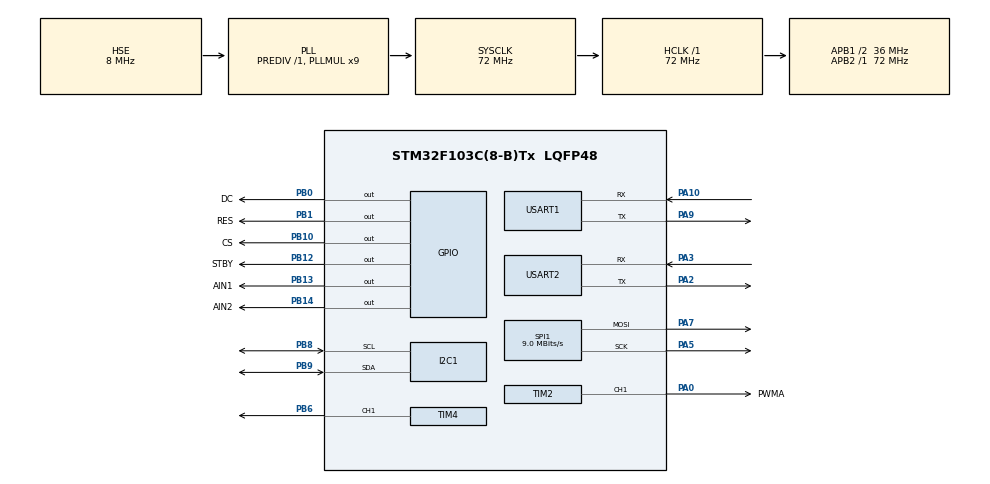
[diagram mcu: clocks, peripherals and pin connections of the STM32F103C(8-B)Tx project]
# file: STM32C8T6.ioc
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Mcu.Family=STM32F1
Mcu.Name=STM32F103C(8-B)Tx
Mcu.Package=LQFP48
NVIC.PriorityGroup=NVIC_PRIORITYGROUP_4
NVIC.USART1_IRQn=true\:0\:0\:false\:false\:true\:true\:true\:true
NVIC.USART2_IRQn=true\:0\:0\:false\:false\:true\:true\:true\:true
PA0-WKUP.GPIO_Label=PWMA
PA0-WKUP.Signal=S_TIM2_CH1_ETR
PA10.Mode=Asynchronous
PA10.Signal=USART1_RX
PA13.Mode=Serial_Wire
PA13.Signal=SYS_JTMS-SWDIO
PA14.Mode=Serial_Wire
PA14.Signal=SYS_JTCK-SWCLK
PA2.Mode=Asynchronous
PA2.Signal=USART2_TX
PA3.Mode=Asynchronous
PA3.Signal=USART2_RX
PA5.Mode=TX_Only_Simplex_Unidirect_Master
PA5.Signal=SPI1_SCK
PA7.Mode=TX_Only_Simplex_Unidirect_Master
PA7.Signal=SPI1_MOSI
PA9.Mode=Asynchronous
PA9.Signal=USART1_TX
PB0.GPIO_Label=DC
PB0.Signal=GPIO_Output
PB1.GPIO_Label=RES
PB1.PinState=GPIO_PIN_SET
PB1.Signal=GPIO_Output
PB10.GPIO_Label=CS
PB10.PinState=GPIO_PIN_SET
PB10.Signal=GPIO_Output
PB12.GPIO_Label=STBY
PB12.Signal=GPIO_Output
PB13.GPIO_Label=AIN1
PB13.Signal=GPIO_Output
PB14.GPIO_Label=AIN2
PB14.Signal=GPIO_Output
PB6.Signal=S_TIM4_CH1
PB8.Mode=I2C
PB8.Signal=I2C1_SCL
PB9.Mode=I2C
PB9.Signal=I2C1_SDA
PD0-OSC_IN.Mode=HSE-External-Oscillator
PD0-OSC_IN.Signal=RCC_OSC_IN
PD1-OSC_OUT.Mode=HSE-External-Oscillator
PD1-OSC_OUT.Signal=RCC_OSC_OUT
ProjectManager.HeapSize=0x200
ProjectManager.StackSize=0x400
ProjectManager.TargetToolchain=MDK-ARM V5.32
RCC.AHBFreq_Value=72000000
RCC.APB1CLKDivider=RCC_HCLK_DIV2
RCC.APB1Freq_Value=36000000
RCC.APB1TimFreq_Value=72000000
RCC.APB2Freq_Value=72000000
RCC.APB2TimFreq_Value=72000000
RCC.HCLKFreq_Value=72000000
RCC.PLLMUL=RCC_PLL_MUL9
RCC.PLLSourceVirtual=RCC_PLLSOURCE_HSE
RCC.SYSCLKFreq_VALUE=72000000
RCC.SYSCLKSource=RCC_SYSCLKSOURCE_PLLCLK
RCC.USBFreq_Value=48000000
RCC.USBPrescaler=RCC_USBCLKSOURCE_PLL_DIV1_5
SH.S_TIM2_CH1_ETR.0=TIM2_CH1,PWM Generation1 CH1
SH.S_TIM4_CH1.0=TIM4_CH1,PWM Generation1 CH1
SPI1.BaudRatePrescaler=SPI_BAUDRATEPRESCALER_8
SPI1.CalculateBaudRate=9.0 MBits/s
SPI1.Direction=SPI_DIRECTION_2LINES
SPI1.Mode=SPI_MODE_MASTER
SPI1.VirtualType=VM_MASTER
TIM2.AutoReloadPreload=TIM_AUTORELOAD_PRELOAD_ENABLE
TIM2.Channel-PWM\ Generation1\ CH1=TIM_CHANNEL_1
TIM2.Period=999
TIM2.Prescaler=71
TIM2.Pulse-PWM\ Generation1\ CH1=0
TIM4.AutoReloadPreload=TIM_AUTORELOAD_PRELOAD_ENABLE
TIM4.Channel-PWM\ Generation1\ CH1=TIM_CHANNEL_1
TIM4.Period=19999
TIM4.Prescaler=71
TIM4.Pulse-PWM\ Generation1\ CH1=1000
USART1.VirtualMode=VM_ASYNC
USART2.VirtualMode=VM_ASYNC
VP_TIM2_VS_ClockSourceINT.Mode=Internal
VP_TIM4_VS_ClockSourceINT.Mode=Internal
board=custom

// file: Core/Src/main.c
/* USER CODE BEGIN Header */
/**
  ******************************************************************************
  * @file           : main.c
  * @brief          : Main program body
  ******************************************************************************
  * @attention
  *
  * Copyright (c) 2026 STMicroelectronics.
  * All rights reserved.
  *
  * This software is licensed under terms that can be found in the LICENSE file
  * in the root directory of this software component.
  * If no LICENSE file comes with this software, it is provided AS-IS.
  *
  ******************************************************************************
  */
/* USER CODE END Header */
#include "main.h"
#include "i2c.h"
#include "spi.h"
#include "tim.h"
#include "usart.h"
#include "gpio.h"

/* USER CODE BEGIN Includes */
/* OLED 应用层接口：底层驱动在 App/oled.c，主程序只负责初始化和状态刷新。 */
#include "oled.h"
#include "rfid_reader.h"
#include "at24c02.h"

/* USER CODE END Includes */

/* USER CODE BEGIN PD */
#define SERVO_CLOSED_PULSE  500U
#define SERVO_OPEN_PULSE    2500U
#define MOTOR_PWM_OLED_GUARD_MS   100U
#define APP_UNLOCK_MESSAGE_MS  900U
#define APP_UNLOCK_CODE_LENGTH  4U
#define APP_MESSAGE_NONE        0U
#define APP_MESSAGE_UNLOCK_OK   1U
#define APP_MESSAGE_LOCK_FAIL   2U
#define APP_MESSAGE_ENROLL_OK   3U
#define APP_MESSAGE_MODIFY_OK   4U
#define APP_LOCK_ERROR_MS       1000U
#define APP_AUTH_MAX_RETRY      3U
#define APP_AUTH_LOCK_MS        30000U
#define APP_GESTURE_ENROLL_COUNTDOWN_MAX  3U
#define APP_GESTURE_ENROLL_STEP_MS        1000U
#define APP_STORAGE_ADDR                  0U
#define APP_STORAGE_MAGIC0                0x48U
#define APP_STORAGE_MAGIC1                0x47U
#define APP_STORAGE_VERSION               1U
#define APP_STORAGE_FLAG_RFID             0x01U
#define APP_STORAGE_FLAG_GESTURE          0x02U

/* USER CODE END PD */

/* USER CODE BEGIN PV */
static uint8_t uart1_rx_byte;
static uint8_t uart2_rx_byte;

typedef enum
{
  APP_PAGE_HOME = 0,
  APP_PAGE_MOTOR = 1,
  APP_PAGE_SERVO = 2,
  APP_PAGE_LOCK = 3,
  APP_PAGE_RFID_ENROLL = 4,
  APP_PAGE_GESTURE_ENROLL = 5
} AppPage;

typedef struct
{
  uint8_t magic0;
  uint8_t magic1;
  uint8_t version;
  uint8_t flags;
  uint8_t rfid_card[RFID_CARD_ID_LENGTH];
  uint8_t gesture_code[APP_UNLOCK_CODE_LENGTH];
  uint8_t checksum;
} AppStorageData;

/*
 * OLED 刷新状态缓存。
 * motor_display_state 保存当前应该显示的电机状态；motor_display_pending 表示主循环需要刷新屏幕。
 * 这两个变量会在串口接收中断和主循环之间共享，所以使用 volatile 防止编译器优化掉读取。
 */
static volatile uint8_t motor_display_state = (uint8_t)OLED_MOTOR_STOP;
static volatile uint8_t motor_display_pending = 0U;
static volatile uint16_t motor_pwm_target = 0U;
static volatile uint16_t motor_pwm_active = 0U;
static volatile uint8_t motor_pwm_pending = 0U;
static volatile uint32_t motor_pwm_due_tick = 0U;
static volatile uint8_t motor_oled_guard_active = 0U;
static volatile uint8_t motor_oled_guard_waiting_refresh = 0U;
static volatile uint32_t motor_oled_guard_due_tick = 0U;
static volatile uint8_t motor_stop_after_refresh = 0U;
static volatile uint8_t app_page = (uint8_t)APP_PAGE_HOME;
static volatile uint8_t home_selection = (uint8_t)OLED_HOME_MOTOR;
static volatile uint8_t home_selection_old = (uint8_t)OLED_HOME_MOTOR;
static volatile uint8_t home_transition_pending = 0U;
static volatile uint8_t page_redraw_pending = 0U;
static volatile uint8_t servo_door_state = (uint8_t)OLED_DOOR_CLOSED;
static volatile uint8_t servo_display_pending = 0U;
static volatile uint32_t servo_display_due_tick = 0U;
static volatile uint8_t access_unlocked = 0U;
static volatile uint8_t access_unlock_pending = 0U;
static volatile uint8_t unlock_code_index = 0U;
static uint8_t unlock_input_code[APP_UNLOCK_CODE_LENGTH];
static volatile uint8_t lock_error_pending = 0U;
static volatile uint32_t lock_error_due_tick = 0U;
static volatile uint8_t password_retry_count = 0U;
static volatile uint8_t password_lock_active = 0U;
static volatile uint32_t password_lock_due_tick = 0U;
static volatile uint8_t rfid_auth_retry_count = 0U;
static volatile uint8_t rfid_lock_active = 0U;
static volatile uint32_t rfid_lock_due_tick = 0U;
static volatile uint8_t auth_lock_page_active = 0U;
static volatile uint8_t auth_lock_display_seconds = 0U;
static volatile uint8_t auth_lock_display_pending = 0U;
static volatile uint8_t access_message_pending = 0U;
static volatile uint8_t access_message_mode = APP_MESSAGE_NONE;
static volatile uint32_t access_message_due_tick = 0U;
static char uart_cmd_buffer[8];
static uint8_t uart_cmd_len = 0U;
static uint8_t unlock_code[APP_UNLOCK_CODE_LENGTH] = {'1', '2', '3', '4'};
static uint8_t gesture_enroll_code[APP_UNLOCK_CODE_LENGTH];
static volatile uint8_t credential_save_pending = 0U;
static volatile uint8_t gesture_enroll_index = 0U;
static volatile uint8_t gesture_enroll_recording = 0U;
static volatile uint8_t gesture_enroll_countdown = APP_GESTURE_ENROLL_COUNTDOWN_MAX;
static volatile uint32_t gesture_enroll_due_tick = 0U;

/* USER CODE END PV */

void SystemClock_Config(void);
/* USER CODE BEGIN PFP */
void Motor_SetSpeed(uint16_t speed);
static void Motor_HandleCommand(uint8_t command);
static void Servo_SetDoor(uint8_t open);
static uint8_t App_StringEquals(const char *a, const char *b);
static uint8_t UART1_CommandIsPrefix(const char *command, uint8_t length);
static void App_HandleTextCommand(const char *command);
static void UART1_ProcessRxByte(uint8_t byte);
static void UART1_StartReceive(void);
static void UART2_StartReceive(void);
static void App_EnterHomeAfterUnlock(void);
static void App_ReturnHome(void);
static void App_LockAndShow(void);
static void App_OpenHomeItem(uint8_t item);
static void App_SelectHomeItem(uint8_t item);
static void App_HandleUnlockByte(uint8_t byte);
static void App_HandleLockErrorTimer(void);
static void App_HandleAuthLockoutTimer(void);
static void App_StartAuthLockout(uint8_t rfid_source);
static void App_StartGestureEnroll(void);
static void App_StartGestureEnrollStep(void);
static void App_HandleGestureEnrollByte(uint8_t byte);
static void App_HandleGestureInvalid(void);
static void App_HandleGestureEnrollTimer(void);
static void App_HandleRfidEvents(void);
static uint8_t App_StorageChecksum(const AppStorageData *storage);
static void App_LoadCredentials(void);
static void App_RequestCredentialSave(void);
static void App_HandleCredentialSave(void);
/* USER CODE END PFP */

/* USER CODE BEGIN 0 */

/**
 * @brief  设置电机 PWM 占空比，并同步记录 OLED 需要显示的档位。
 * @param  speed PWM 比较值，当前约定为 0、300、600、999 四档。
 * @note   这个函数会被串口接收中断调用，所以这里只记录目标档位并启动保护流程，
 *         不直接进行 SPI 刷屏。主循环会先关闭 PWM，等 100ms，再刷 OLED，
 *         最后再等 100ms 恢复目标 PWM。
 */
void Motor_SetSpeed(uint16_t speed)
{
  uint8_t state;

  /* PWM 最大值按当前 TIM2 周期限制为 999，防止外部调用传入过大值。 */
  if (speed > 999U)
  {
    speed = 999U;
  }

  /* 将 PWM 数值映射成 OLED 页面上的状态：0=停止，300=一档，600=二档，999=三档。 */
  if (speed == 0U)
  {
    state = (uint8_t)OLED_MOTOR_STOP;
  }
  else if (speed <= 300U)
  {
    state = (uint8_t)OLED_MOTOR_GEAR1;
  }
  else if (speed <= 600U)
  {
    state = (uint8_t)OLED_MOTOR_GEAR2;
  }
  else
  {
    state = (uint8_t)OLED_MOTOR_GEAR3;
  }

  /*
   * 先记录目标 PWM 和目标显示状态。
   * while(1) 会先把 TIM2_CH1 占空比临时清零，等 OLED 供电/总线稳定后再刷屏，
   * 刷屏结束后再延迟恢复目标 PWM。
   */
  motor_pwm_target = speed;
  motor_pwm_pending = 0U;
  motor_pwm_due_tick = 0U;
  motor_stop_after_refresh = (speed == 0U) ? 1U : 0U;
  motor_oled_guard_active = 1U;
  motor_oled_guard_waiting_refresh = 1U;
  motor_oled_guard_due_tick = HAL_GetTick() + MOTOR_PWM_OLED_GUARD_MS;
  __HAL_TIM_SET_COMPARE(&htim2, TIM_CHANNEL_1, 0U);
  motor_pwm_active = 0U;

  if (motor_display_state != state)
  {
    motor_display_state = state;
  }
  motor_display_pending = 1U;
}

static void Motor_HandleCommand(uint8_t command)
{
  /* 上位机发送 ASCII 字符 '0'~'3'，分别对应停止、一档、二档、三档 PWM。 */
  switch (command)
  {
    case '0':
      Motor_SetSpeed(0);
      break;
    case '1':
      Motor_SetSpeed(300);
      break;
    case '2':
      Motor_SetSpeed(600);
      break;
    case '3':
      Motor_SetSpeed(999);
      break;
    default:
      break;
  }
}

static void Servo_SetDoor(uint8_t open)
{
  __HAL_TIM_SET_COMPARE(&htim4, TIM_CHANNEL_1, (open != 0U) ? SERVO_OPEN_PULSE : SERVO_CLOSED_PULSE);
  servo_door_state = (open != 0U) ? (uint8_t)OLED_DOOR_OPEN : (uint8_t)OLED_DOOR_CLOSED;
  servo_display_due_tick = HAL_GetTick();
  servo_display_pending = 1U;
}

static uint8_t App_StorageChecksum(const AppStorageData *storage)
{
  const uint8_t *bytes;
  uint8_t sum;
  uint8_t i;

  bytes = (const uint8_t *)storage;
  sum = 0U;
  for (i = 0U; i < (uint8_t)(sizeof(AppStorageData) - 1U); i++)
  {
    sum = (uint8_t)(sum + bytes[i]);
  }

  return (uint8_t)(0xA5U ^ sum);
}

static void App_LoadCredentials(void)
{
  AppStorageData storage;
  uint8_t i;

  if (AT24C02_Read(APP_STORAGE_ADDR, (uint8_t *)&storage, (uint16_t)sizeof(storage)) != HAL_OK)
  {
    return;
  }

  if ((storage.magic0 != APP_STORAGE_MAGIC0) ||
      (storage.magic1 != APP_STORAGE_MAGIC1) ||
      (storage.version != APP_STORAGE_VERSION) ||
      (storage.checksum != App_StorageChecksum(&storage)))
  {
    return;
  }

  if ((storage.flags & APP_STORAGE_FLAG_RFID) != 0U)
  {
    RFID_SetStoredCard(storage.rfid_card);
  }

  if ((storage.flags & APP_STORAGE_FLAG_GESTURE) != 0U)
  {
    for (i = 0U; i < APP_UNLOCK_CODE_LENGTH; i++)
    {
      unlock_code[i] = storage.gesture_code[i];
    }
  }
}

static void App_RequestCredentialSave(void)
{
  credential_save_pending = 1U;
}

static void App_HandleCredentialSave(void)
{
  AppStorageData storage;
  uint8_t i;

  if (credential_save_pending == 0U)
  {
    return;
  }

  credential_save_pending = 0U;
  storage.magic0 = APP_STORAGE_MAGIC0;
  storage.magic1 = APP_STORAGE_MAGIC1;
  storage.version = APP_STORAGE_VERSION;
  storage.flags = APP_STORAGE_FLAG_GESTURE;

  if (RFID_GetStoredCard(storage.rfid_card) != 0U)
  {
    storage.flags = (uint8_t)(storage.flags | APP_STORAGE_FLAG_RFID);
  }

  for (i = 0U; i < APP_UNLOCK_CODE_LENGTH; i++)
  {
    storage.gesture_code[i] = unlock_code[i];
  }

  storage.checksum = App_StorageChecksum(&storage);
  if (AT24C02_Write(APP_STORAGE_ADDR, (const uint8_t *)&storage, (uint16_t)sizeof(storage)) != HAL_OK)
  {
    credential_save_pending = 1U;
  }
}

static uint8_t App_StringEquals(const char *a, const char *b)
{
  while ((*a != '\0') && (*b != '\0'))
  {
    if (*a != *b)
    {
      return 0U;
    }
    a++;
    b++;
  }

  return ((*a == '\0') && (*b == '\0')) ? 1U : 0U;
}

static uint8_t UART1_CommandIsPrefix(const char *command, uint8_t length)
{
  static const char *known_commands[] = {"ok", "exit", "open", "close", "like", "dislike", "palm", "fist", "invalid"};
  uint8_t i;
  uint8_t j;
  uint8_t matched;

  for (i = 0U; i < (uint8_t)(sizeof(known_commands) / sizeof(known_commands[0])); i++)
  {
    matched = 1U;
    for (j = 0U; j < length; j++)
    {
      if ((known_commands[i][j] == '\0') || (known_commands[i][j] != command[j]))
      {
        matched = 0U;
        break;
      }
    }

    if (matched != 0U)
    {
      return 1U;
    }
  }

  return 0U;
}

static void App_HandleTextCommand(const char *command)
{
  if ((app_page == (uint8_t)APP_PAGE_HOME) &&
      ((App_StringEquals(command, "exit") != 0U) || (App_StringEquals(command, "dislike") != 0U)))
  {
    App_LockAndShow();
    return;
  }

  if ((app_page != (uint8_t)APP_PAGE_HOME) &&
      ((App_StringEquals(command, "exit") != 0U) || (App_StringEquals(command, "dislike") != 0U)))
  {
    App_ReturnHome();
    return;
  }

  if (app_page == (uint8_t)APP_PAGE_HOME)
  {
    if ((App_StringEquals(command, "ok") != 0U) || (App_StringEquals(command, "like") != 0U))
    {
      App_OpenHomeItem(home_selection);
    }
    return;
  }

  if (app_page == (uint8_t)APP_PAGE_GESTURE_ENROLL)
  {
    if ((App_StringEquals(command, "ok") != 0U) || (App_StringEquals(command, "like") != 0U))
    {
      App_StartGestureEnrollStep();
    }
    else if (App_StringEquals(command, "invalid") != 0U)
    {
      App_HandleGestureInvalid();
    }
    return;
  }

  if (app_page == (uint8_t)APP_PAGE_SERVO)
  {
    if ((App_StringEquals(command, "open") != 0U) || (App_StringEquals(command, "palm") != 0U))
    {
      Servo_SetDoor(1U);
    }
    else if ((App_StringEquals(command, "close") != 0U) || (App_StringEquals(command, "fist") != 0U))
    {
      Servo_SetDoor(0U);
    }
  }
}

static void UART1_ProcessRxByte(uint8_t byte)
{
  char ch;

  if (access_unlocked == 0U)
  {
    App_HandleUnlockByte(byte);
    return;
  }

  if ((byte >= (uint8_t)'A') && (byte <= (uint8_t)'Z'))
  {
    byte = (uint8_t)(byte + ((uint8_t)'a' - (uint8_t)'A'));
  }

  if ((byte >= (uint8_t)'0') && (byte <= (uint8_t)'5'))
  {
    uart_cmd_len = 0U;
    uart_cmd_buffer[0] = '\0';

    if ((app_page == (uint8_t)APP_PAGE_HOME) && (byte >= (uint8_t)'1') && (byte <= (uint8_t)'4'))
    {
      App_SelectHomeItem((uint8_t)(byte - (uint8_t)'1'));
    }
    else if (app_page == (uint8_t)APP_PAGE_GESTURE_ENROLL)
    {
      App_HandleGestureEnrollByte(byte);
    }
    else if ((app_page == (uint8_t)APP_PAGE_MOTOR) && (byte <= (uint8_t)'3'))
    {
      Motor_HandleCommand(byte);
    }
    else if ((app_page == (uint8_t)APP_PAGE_SERVO) && (byte == (uint8_t)'5'))
    {
      Servo_SetDoor(1U);
    }
    else if ((app_page == (uint8_t)APP_PAGE_SERVO) && (byte == (uint8_t)'0'))
    {
      Servo_SetDoor(0U);
    }
    return;
  }

  if ((byte == (uint8_t)'\r') || (byte == (uint8_t)'\n') || (byte == (uint8_t)' '))
  {
    uart_cmd_len = 0U;
    uart_cmd_buffer[0] = '\0';
    return;
  }

  ch = (char)byte;
  if ((ch < 'a') || (ch > 'z'))
  {
    uart_cmd_len = 0U;
    uart_cmd_buffer[0] = '\0';
    return;
  }

  if (uart_cmd_len >= (uint8_t)(sizeof(uart_cmd_buffer) - 1U))
  {
    uart_cmd_len = 0U;
  }

  uart_cmd_buffer[uart_cmd_len] = ch;
  uart_cmd_len++;
  uart_cmd_buffer[uart_cmd_len] = '\0';

  if ((App_StringEquals(uart_cmd_buffer, "ok") != 0U) ||
      (App_StringEquals(uart_cmd_buffer, "exit") != 0U) ||
      (App_StringEquals(uart_cmd_buffer, "open") != 0U) ||
      (App_StringEquals(uart_cmd_buffer, "close") != 0U) ||
      (App_StringEquals(uart_cmd_buffer, "like") != 0U) ||
      (App_StringEquals(uart_cmd_buffer, "dislike") != 0U) ||
      (App_StringEquals(uart_cmd_buffer, "palm") != 0U) ||
      (App_StringEquals(uart_cmd_buffer, "fist") != 0U) ||
      (App_StringEquals(uart_cmd_buffer, "invalid") != 0U))
  {
    App_HandleTextCommand(uart_cmd_buffer);
    uart_cmd_len = 0U;
    uart_cmd_buffer[0] = '\0';
  }
  else if (UART1_CommandIsPrefix(uart_cmd_buffer, uart_cmd_len) == 0U)
  {
    uart_cmd_len = 0U;
    uart_cmd_buffer[0] = '\0';
  }
}

static void UART1_StartReceive(void)
{
  /* 每次只接收 1 字节命令；接收完成后在回调函数里重新开启下一次接收。 */
  HAL_UART_Receive_IT(&huart1, &uart1_rx_byte, 1);
}

static void UART2_StartReceive(void)
{
  HAL_UART_Receive_IT(&huart2, &uart2_rx_byte, 1);
}

static void App_EnterHomeAfterUnlock(void)
{
  access_unlocked = 1U;
  password_retry_count = 0U;
  password_lock_active = 0U;
  password_lock_due_tick = 0U;
  rfid_auth_retry_count = 0U;
  rfid_lock_active = 0U;
  rfid_lock_due_tick = 0U;
  auth_lock_page_active = 0U;
  auth_lock_display_seconds = 0U;
  auth_lock_display_pending = 0U;
  app_page = (uint8_t)APP_PAGE_HOME;
  home_selection = (uint8_t)OLED_HOME_MOTOR;
  home_selection_old = (uint8_t)OLED_HOME_MOTOR;
  home_transition_pending = 0U;
  page_redraw_pending = 1U;
}

static void App_ReturnHome(void)
{
  Motor_SetSpeed(0U);
  Servo_SetDoor(0U);
  gesture_enroll_index = 0U;
  gesture_enroll_recording = 0U;
  gesture_enroll_countdown = APP_GESTURE_ENROLL_COUNTDOWN_MAX;
  gesture_enroll_due_tick = 0U;
  app_page = (uint8_t)APP_PAGE_HOME;
  home_selection_old = home_selection;
  home_transition_pending = 0U;
  page_redraw_pending = 1U;
}

static void App_LockAndShow(void)
{
  Motor_SetSpeed(0U);
  Servo_SetDoor(0U);
  RFID_Lock();
  access_unlocked = 0U;
  access_unlock_pending = 0U;
  unlock_code_index = 0U;
  lock_error_pending = 0U;
  lock_error_due_tick = 0U;
  password_retry_count = 0U;
  password_lock_active = 0U;
  password_lock_due_tick = 0U;
  rfid_auth_retry_count = 0U;
  rfid_lock_active = 0U;
  rfid_lock_due_tick = 0U;
  auth_lock_page_active = 0U;
  auth_lock_display_seconds = 0U;
  auth_lock_display_pending = 0U;
  gesture_enroll_index = 0U;
  gesture_enroll_recording = 0U;
  gesture_enroll_countdown = APP_GESTURE_ENROLL_COUNTDOWN_MAX;
  gesture_enroll_due_tick = 0U;
  access_message_pending = 0U;
  access_message_mode = APP_MESSAGE_NONE;
  app_page = (uint8_t)APP_PAGE_LOCK;
  home_selection = (uint8_t)OLED_HOME_MOTOR;
  home_selection_old = (uint8_t)OLED_HOME_MOTOR;
  home_transition_pending = 0U;
  page_redraw_pending = 1U;
}

static void App_HandleUnlockByte(uint8_t byte)
{
  uint8_t i;
  uint8_t matched;

  if ((lock_error_pending != 0U) || (password_lock_active != 0U))
  {
    return;
  }

  if ((byte < (uint8_t)'0') || (byte > (uint8_t)'9'))
  {
    return;
  }

  if (unlock_code_index < APP_UNLOCK_CODE_LENGTH)
  {
    unlock_input_code[unlock_code_index] = byte;
    unlock_code_index++;
    OLED_ShowLockInputPage(unlock_input_code, unlock_code_index, 0U);
  }

  if (unlock_code_index >= APP_UNLOCK_CODE_LENGTH)
  {
    matched = 1U;
    for (i = 0U; i < APP_UNLOCK_CODE_LENGTH; i++)
    {
      if (unlock_input_code[i] != unlock_code[i])
      {
        matched = 0U;
        break;
      }
    }

    unlock_code_index = 0U;
    if (matched != 0U)
    {
      password_retry_count = 0U;
      password_lock_active = 0U;
      password_lock_due_tick = 0U;
      access_unlocked = 1U;
      access_unlock_pending = 1U;
    }
    else
    {
      if (password_retry_count < APP_AUTH_MAX_RETRY)
      {
        password_retry_count++;
      }

      if (password_retry_count >= APP_AUTH_MAX_RETRY)
      {
        App_StartAuthLockout(0U);
      }
      else
      {
        lock_error_pending = 1U;
        lock_error_due_tick = HAL_GetTick() + APP_LOCK_ERROR_MS;
        OLED_ShowLockInputPage(unlock_input_code, APP_UNLOCK_CODE_LENGTH, 1U);
      }
    }
  }
}

static void App_HandleLockErrorTimer(void)
{
  if ((lock_error_pending != 0U) && ((int32_t)(HAL_GetTick() - lock_error_due_tick) >= 0))
  {
    lock_error_pending = 0U;
    unlock_code_index = 0U;
    if ((password_lock_active == 0U) && (rfid_lock_active == 0U))
    {
      OLED_ShowLockInputPage(unlock_input_code, 0U, 0U);
    }
  }
}

static void App_HandleAuthLockoutTimer(void)
{
  uint32_t now;
  uint32_t due_tick;
  uint32_t remain_ms;
  uint8_t remaining_seconds;

  now = HAL_GetTick();
  if ((password_lock_active != 0U) && ((int32_t)(now - password_lock_due_tick) >= 0))
  {
    password_lock_active = 0U;
    password_retry_count = 0U;
    password_lock_due_tick = 0U;
    unlock_code_index = 0U;
    auth_lock_page_active = 0U;
    auth_lock_display_seconds = 0U;
    auth_lock_display_pending = 1U;
  }

  if ((rfid_lock_active != 0U) && ((int32_t)(now - rfid_lock_due_tick) >= 0))
  {
    rfid_lock_active = 0U;
    rfid_auth_retry_count = 0U;
    rfid_lock_due_tick = 0U;
    RFID_Lock();
    auth_lock_page_active = 0U;
    auth_lock_display_seconds = 0U;
    auth_lock_display_pending = 1U;
  }

  if ((password_lock_active != 0U) || (rfid_lock_active != 0U))
  {
    due_tick = (password_lock_active != 0U) ? password_lock_due_tick : rfid_lock_due_tick;
    remain_ms = ((int32_t)(due_tick - now) > 0) ? (uint32_t)(due_tick - now) : 0U;
    remaining_seconds = (uint8_t)((remain_ms + 999U) / 1000U);
    if (remaining_seconds > 30U)
    {
      remaining_seconds = 30U;
    }

    if ((auth_lock_page_active == 0U) || (auth_lock_display_seconds != remaining_seconds))
    {
      auth_lock_page_active = 1U;
      auth_lock_display_seconds = remaining_seconds;
      auth_lock_display_pending = 1U;
    }
  }
}

static void App_StartAuthLockout(uint8_t rfid_source)
{
  uint32_t due_tick;

  due_tick = HAL_GetTick() + APP_AUTH_LOCK_MS;
  if (rfid_source != 0U)
  {
    rfid_lock_active = 1U;
    rfid_lock_due_tick = due_tick;
    RFID_Lock();
  }
  else
  {
    password_lock_active = 1U;
    password_lock_due_tick = due_tick;
  }

  lock_error_pending = 0U;
  unlock_code_index = 0U;
  access_message_pending = 0U;
  access_message_mode = APP_MESSAGE_NONE;
  auth_lock_page_active = 1U;
  auth_lock_display_seconds = 30U;
  auth_lock_display_pending = 1U;
}

static void App_OpenHomeItem(uint8_t item)
{
  switch (item)
  {
    case OLED_HOME_MOTOR:
      app_page = (uint8_t)APP_PAGE_MOTOR;
      break;
    case OLED_HOME_SERVO:
      app_page = (uint8_t)APP_PAGE_SERVO;
      break;
    case OLED_HOME_RFID:
      RFID_StartEnroll();
      app_page = (uint8_t)APP_PAGE_RFID_ENROLL;
      break;
    case OLED_HOME_GESTURE:
      App_StartGestureEnroll();
      break;
    default:
      app_page = (uint8_t)APP_PAGE_HOME;
      break;
  }

  page_redraw_pending = 1U;
}

static void App_SelectHomeItem(uint8_t item)
{
  if (item >= (uint8_t)OLED_HOME_COUNT)
  {
    return;
  }

  if (item == home_selection)
  {
    return;
  }

  home_selection_old = home_selection;
  home_selection = item;
  home_transition_pending = 1U;
  page_redraw_pending = 0U;
}

static void App_StartGestureEnroll(void)
{
  gesture_enroll_index = 0U;
  gesture_enroll_recording = 0U;
  gesture_enroll_countdown = APP_GESTURE_ENROLL_COUNTDOWN_MAX;
  gesture_enroll_due_tick = 0U;
  app_page = (uint8_t)APP_PAGE_GESTURE_ENROLL;
}

static void App_StartGestureEnrollStep(void)
{
  if ((gesture_enroll_index >= APP_UNLOCK_CODE_LENGTH) || (gesture_enroll_recording != 0U))
  {
    return;
  }

  gesture_enroll_recording = 1U;
  gesture_enroll_countdown = APP_GESTURE_ENROLL_COUNTDOWN_MAX;
  gesture_enroll_due_tick = HAL_GetTick() + APP_GESTURE_ENROLL_STEP_MS;
  page_redraw_pending = 1U;
}

static void App_HandleGestureEnrollByte(uint8_t byte)
{
  uint8_t i;

  if ((gesture_enroll_recording == 0U) || (byte < (uint8_t)'0') || (byte > (uint8_t)'5'))
  {
    return;
  }

  if (gesture_enroll_index < APP_UNLOCK_CODE_LENGTH)
  {
    gesture_enroll_code[gesture_enroll_index] = byte;
    gesture_enroll_index++;
  }

  if (gesture_enroll_index >= APP_UNLOCK_CODE_LENGTH)
  {
    gesture_enroll_recording = 0U;
    gesture_enroll_countdown = APP_GESTURE_ENROLL_COUNTDOWN_MAX;
    gesture_enroll_due_tick = 0U;
    for (i = 0U; i < APP_UNLOCK_CODE_LENGTH; i++)
    {
      unlock_code[i] = gesture_enroll_code[i];
    }
    App_RequestCredentialSave();
    unlock_code_index = 0U;
    access_message_pending = 1U;
    access_message_mode = APP_MESSAGE_MODIFY_OK;
    access_message_due_tick = HAL_GetTick() + APP_UNLOCK_MESSAGE_MS;
    OLED_ShowModifySuccessPage();
  }
  else
  {
    gesture_enroll_recording = 0U;
    gesture_enroll_countdown = APP_GESTURE_ENROLL_COUNTDOWN_MAX;
    gesture_enroll_due_tick = 0U;
    page_redraw_pending = 1U;
  }
}

static void App_HandleGestureInvalid(void)
{
  if (app_page != (uint8_t)APP_PAGE_GESTURE_ENROLL)
  {
    return;
  }

  gesture_enroll_recording = 0U;
  gesture_enroll_countdown = APP_GESTURE_ENROLL_COUNTDOWN_MAX;
  gesture_enroll_due_tick = 0U;
  page_redraw_pending = 1U;
}

static void App_HandleGestureEnrollTimer(void)
{
  if ((app_page != (uint8_t)APP_PAGE_GESTURE_ENROLL) || (gesture_enroll_recording == 0U) || (access_message_pending != 0U))
  {
    return;
  }

  if ((int32_t)(HAL_GetTick() - gesture_enroll_due_tick) >= 0)
  {
    if (gesture_enroll_countdown > 1U)
    {
      gesture_enroll_countdown--;
      gesture_enroll_due_tick = HAL_GetTick() + APP_GESTURE_ENROLL_STEP_MS;
      page_redraw_pending = 1U;
    }
    else
    {
      App_HandleGestureInvalid();
    }
  }
}

static void App_HandleRfidEvents(void)
{
  RFID_Event event;
  uint8_t card_id[RFID_CARD_ID_LENGTH];
  uint8_t retry_count;
  uint8_t unlock_pending;

  __disable_irq();
  unlock_pending = access_unlock_pending;
  access_unlock_pending = 0U;
  __enable_irq();

  if (unlock_pending != 0U)
  {
    access_message_pending = 1U;
    access_message_mode = APP_MESSAGE_UNLOCK_OK;
    access_message_due_tick = HAL_GetTick() + APP_UNLOCK_MESSAGE_MS;
    OLED_ShowUnlockSuccessPage();
  }

  event = RFID_PollEvent(card_id, &retry_count);
  if (rfid_lock_active != 0U)
  {
    if (event != RFID_EVENT_NONE)
    {
      RFID_Lock();
    }
    event = RFID_EVENT_NONE;
  }

  if (event == RFID_EVENT_AUTHORIZED)
  {
    if (access_unlocked == 0U)
    {
      rfid_auth_retry_count = 0U;
      rfid_lock_active = 0U;
      rfid_lock_due_tick = 0U;
      access_unlocked = 1U;
      access_message_pending = 1U;
      access_message_mode = APP_MESSAGE_UNLOCK_OK;
      access_message_due_tick = HAL_GetTick() + APP_UNLOCK_MESSAGE_MS;
      OLED_ShowUnlockSuccessPage();
    }
  }
  else if (event == RFID_EVENT_DENIED)
  {
    if (access_unlocked == 0U)
    {
      rfid_auth_retry_count = retry_count;
      if (rfid_auth_retry_count >= APP_AUTH_MAX_RETRY)
      {
        App_StartAuthLockout(1U);
      }
      else
      {
        access_message_pending = 1U;
        access_message_mode = APP_MESSAGE_LOCK_FAIL;
        access_message_due_tick = HAL_GetTick() + APP_UNLOCK_MESSAGE_MS;
        OLED_ShowUnlockDeniedPage(retry_count);
      }
    }
  }
  else if (event == RFID_EVENT_ENROLLED)
  {
    App_RequestCredentialSave();
    access_message_pending = 1U;
    access_message_mode = APP_MESSAGE_ENROLL_OK;
    access_message_due_tick = HAL_GetTick() + APP_UNLOCK_MESSAGE_MS;
    OLED_ShowRfidEnrollSuccessPage();
  }

  if ((access_message_pending != 0U) && ((int32_t)(HAL_GetTick() - access_message_due_tick) >= 0))
  {
    access_message_pending = 0U;
    if (access_message_mode == APP_MESSAGE_UNLOCK_OK)
    {
      App_EnterHomeAfterUnlock();
    }
    else if ((access_message_mode == APP_MESSAGE_ENROLL_OK) || (access_message_mode == APP_MESSAGE_MODIFY_OK))
    {
      App_ReturnHome();
    }
    else
    {
      app_page = (uint8_t)APP_PAGE_LOCK;
      OLED_ShowLockPage();
    }
    access_message_mode = APP_MESSAGE_NONE;
  }
}

void HAL_UART_RxCpltCallback(UART_HandleTypeDef *huart)
{
  if (huart->Instance == USART1)
  {
    /* 串口中断里只处理命令和更新 PWM，不在这里刷 OLED，保证中断尽快退出。 */
    UART1_ProcessRxByte(uart1_rx_byte);
    UART1_StartReceive();
  }
  else if (huart->Instance == USART2)
  {
    RFID_ProcessByte(uart2_rx_byte);
    UART2_StartReceive();
  }
}

void HAL_UART_ErrorCallback(UART_HandleTypeDef *huart)
{
  if (huart->Instance == USART1)
  {
    /* 串口出错后重新打开接收，避免一次错误导致后续指令都收不到。 */
    UART1_StartReceive();
  }
  else if (huart->Instance == USART2)
  {
    UART2_StartReceive();
  }
}

/* USER CODE END 0 */

int main(void)
{

  /* MCU Configuration--------------------------------------------------------*/

  /* Reset of all peripherals, Initializes the Flash interface and the Systick. */
  HAL_Init();

  /* Configure the system clock */
  SystemClock_Config();

  /* Initialize all configured peripherals */
  MX_GPIO_Init();
  MX_TIM2_Init();
  MX_USART1_UART_Init();
  MX_SPI1_Init();
  MX_TIM4_Init();
  MX_USART2_UART_Init();
  MX_I2C1_Init();
  /* USER CODE BEGIN 2 */

  RFID_Init();
  App_LoadCredentials();

  /* 启动 TIM2_CH1 PWM 输出 */
  HAL_TIM_PWM_Start(&htim2, TIM_CHANNEL_1);
  HAL_TIM_PWM_Start(&htim4, TIM_CHANNEL_1);

  /* 使能 TB6612 驱动板 */
  HAL_GPIO_WritePin(STBY_GPIO_Port, STBY_Pin, GPIO_PIN_SET);
  /* 固定正转方向：AIN1=1, AIN2=0 */
  HAL_GPIO_WritePin(AIN1_GPIO_Port, AIN1_Pin, GPIO_PIN_SET);
  HAL_GPIO_WritePin(AIN2_GPIO_Port, AIN2_Pin, GPIO_PIN_RESET);

  /* SPI1 和 DC/RES/CS GPIO 初始化完成后，再初始化 OLED 并绘制默认停止页面。 */
  OLED_Init();
  OLED_PlayBootAnimation();
  OLED_ShowLockPage();
  app_page = (uint8_t)APP_PAGE_LOCK;
  access_unlocked = 0U;

  /* 上电默认停止，随后等待 USART1 接收上位机发送的 0/1/2/3 指令。 */
  Motor_SetSpeed(0);
  Servo_SetDoor(0U);

  /* 默认停止页面已经手动绘制过，所以清掉 Motor_SetSpeed(0) 置位的刷新请求。 */
  motor_display_pending = 0U;
  servo_display_pending = 0U;
  home_transition_pending = 0U;
  page_redraw_pending = 0U;
  UART1_StartReceive();
  UART2_StartReceive();

  /* USER CODE END 2 */

  /* Infinite loop */
  while (1)
  {

    /* USER CODE BEGIN 3 */
    uint8_t motor_update_due;
    uint8_t motor_pwm_due;
    uint8_t motor_guard_refresh_due;
    uint8_t motor_guard_blocking_redraw;
    uint8_t servo_update_due;
    uint8_t lock_display_pending;
    uint8_t lock_display_seconds;

    App_HandleAuthLockoutTimer();
    App_HandleRfidEvents();
    App_HandleLockErrorTimer();
    App_HandleGestureEnrollTimer();
    App_HandleCredentialSave();

    __disable_irq();
    lock_display_pending = auth_lock_display_pending;
    lock_display_seconds = auth_lock_display_seconds;
    auth_lock_display_pending = 0U;
    __enable_irq();

    if (lock_display_pending != 0U)
    {
      if (lock_display_seconds == 0U)
      {
        OLED_ShowLockPage();
      }
      else
      {
        OLED_ShowAuthLockPage(lock_display_seconds);
      }
    }

    motor_guard_refresh_due = ((motor_oled_guard_waiting_refresh != 0U) && ((int32_t)(HAL_GetTick() - motor_oled_guard_due_tick) >= 0)) ? 1U : 0U;
    motor_guard_blocking_redraw = ((motor_oled_guard_active != 0U) && (motor_oled_guard_waiting_refresh != 0U) && (motor_guard_refresh_due == 0U)) ? 1U : 0U;
    motor_update_due = ((motor_display_pending != 0U) && ((motor_oled_guard_active == 0U) || (motor_guard_refresh_due != 0U))) ? 1U : 0U;
    motor_pwm_due = ((motor_pwm_pending != 0U) && ((int32_t)(HAL_GetTick() - motor_pwm_due_tick) >= 0)) ? 1U : 0U;
    servo_update_due = ((servo_display_pending != 0U) && ((int32_t)(HAL_GetTick() - servo_display_due_tick) >= 0)) ? 1U : 0U;

    if (motor_pwm_due != 0U)
    {
      uint16_t pwm_target;

      __disable_irq();
      pwm_target = motor_pwm_target;
      motor_pwm_pending = 0U;
      motor_pwm_due_tick = 0U;
      __enable_irq();

      __HAL_TIM_SET_COMPARE(&htim2, TIM_CHANNEL_1, pwm_target);
      motor_pwm_active = pwm_target;
    }

    if ((motor_guard_blocking_redraw == 0U) && ((home_transition_pending != 0U) || (page_redraw_pending != 0U) || (motor_update_due != 0U) || (servo_update_due != 0U)))
    {
      uint8_t page;
      uint8_t selection;
      uint8_t old_selection;
      uint8_t motor_state;
      uint8_t door_state;
      uint8_t transition_pending;
      uint8_t redraw_pending;
      uint8_t motor_pending;
      uint8_t servo_pending;

      /*
       * 关中断只保护这两个共享变量的读写，临界区很短。
       * SPI 刷屏放在开中断之后执行，避免影响串口接收和系统响应。
       */
      __disable_irq();
      page = app_page;
      selection = home_selection;
      old_selection = home_selection_old;
      motor_state = motor_display_state;
      door_state = servo_door_state;
      transition_pending = home_transition_pending;
      redraw_pending = page_redraw_pending;
        motor_pending = motor_update_due;
        servo_pending = servo_update_due;
      home_transition_pending = 0U;
      page_redraw_pending = 0U;
      if (motor_pending != 0U)
      {
        motor_display_pending = 0U;
        motor_oled_guard_waiting_refresh = 0U;
      }
      if (servo_pending != 0U)
      {
        servo_display_pending = 0U;
      }
      __enable_irq();

      /* 根据最新 PWM 档位刷新底部状态显示：停止/一档/二档/三档。 */
      if (transition_pending != 0U)
      {
        if (motor_oled_guard_active == 0U)
        {
          motor_pwm_target = motor_pwm_active;
          motor_pwm_pending = 0U;
          motor_pwm_due_tick = 0U;
          motor_oled_guard_active = 1U;
          motor_oled_guard_waiting_refresh = 0U;
          __HAL_TIM_SET_COMPARE(&htim2, TIM_CHANNEL_1, 0U);
          motor_pwm_active = 0U;
          HAL_Delay(MOTOR_PWM_OLED_GUARD_MS);
        }
        OLED_AnimateHomeSelection((OLED_HomeSelection)old_selection, (OLED_HomeSelection)selection);
      }

      if (redraw_pending != 0U)
      {
        if (motor_oled_guard_active == 0U)
        {
          motor_pwm_target = motor_pwm_active;
          motor_pwm_pending = 0U;
          motor_pwm_due_tick = 0U;
          motor_oled_guard_active = 1U;
          motor_oled_guard_waiting_refresh = 0U;
          __HAL_TIM_SET_COMPARE(&htim2, TIM_CHANNEL_1, 0U);
          motor_pwm_active = 0U;
          HAL_Delay(MOTOR_PWM_OLED_GUARD_MS);
        }
        if (page == (uint8_t)APP_PAGE_HOME)
        {
          OLED_ShowHomePage((OLED_HomeSelection)selection);
        }
        else if (page == (uint8_t)APP_PAGE_MOTOR)
        {
          OLED_ShowMotorPage((OLED_MotorState)motor_state);
        }
        else if (page == (uint8_t)APP_PAGE_SERVO)
        {
          OLED_ShowServoPage((OLED_DoorState)door_state);
        }
        else if (page == (uint8_t)APP_PAGE_RFID_ENROLL)
        {
          OLED_ShowRfidEnrollPage();
        }
        else if (page == (uint8_t)APP_PAGE_GESTURE_ENROLL)
        {
          OLED_ShowGestureEnrollPage(gesture_enroll_index, gesture_enroll_countdown, gesture_enroll_recording, gesture_enroll_code);
        }
        else
        {
          OLED_ShowLockPage();
        }
      }

      if (motor_pending != 0U)
      {
        if (page == (uint8_t)APP_PAGE_MOTOR)
        {
          OLED_UpdateMotorState((OLED_MotorState)motor_state);
        }
        if (motor_stop_after_refresh != 0U)
        {
          motor_pwm_target = 0U;
          motor_pwm_pending = 0U;
          motor_pwm_due_tick = 0U;
          motor_pwm_active = 0U;
          motor_stop_after_refresh = 0U;
        }
        else
        {
          motor_pwm_due_tick = HAL_GetTick() + MOTOR_PWM_OLED_GUARD_MS;
          motor_pwm_pending = 1U;
        }
        motor_oled_guard_active = 0U;
      }

      if (((transition_pending != 0U) || (redraw_pending != 0U)) && (motor_oled_guard_active != 0U) && (motor_pending == 0U))
      {
        if (motor_stop_after_refresh != 0U)
        {
          motor_pwm_target = 0U;
          motor_pwm_pending = 0U;
          motor_pwm_due_tick = 0U;
          motor_pwm_active = 0U;
          motor_stop_after_refresh = 0U;
        }
        else
        {
          motor_pwm_due_tick = HAL_GetTick() + MOTOR_PWM_OLED_GUARD_MS;
          motor_pwm_pending = 1U;
        }
        motor_oled_guard_active = 0U;
      }

      if ((servo_pending != 0U) && (page == (uint8_t)APP_PAGE_SERVO))
      {
        OLED_UpdateServoState((OLED_DoorState)door_state);
      }
    }
  }
  /* USER CODE END 3 */
}

void SystemClock_Config(void)
{
  RCC_OscInitTypeDef RCC_OscInitStruct = {0};
  RCC_ClkInitTypeDef RCC_ClkInitStruct = {0};

  /** Initializes the RCC Oscillators according to the specified parameters
  * in the RCC_OscInitTypeDef structure.
  */
  RCC_OscInitStruct.OscillatorType = RCC_OSCILLATORTYPE_HSE;
  RCC_OscInitStruct.HSEState = RCC_HSE_ON;
  RCC_OscInitStruct.HSEPredivValue = RCC_HSE_PREDIV_DIV1;
  RCC_OscInitStruct.HSIState = RCC_HSI_ON;
  RCC_OscInitStruct.PLL.PLLState = RCC_PLL_ON;
  RCC_OscInitStruct.PLL.PLLSource = RCC_PLLSOURCE_HSE;
  RCC_OscInitStruct.PLL.PLLMUL = RCC_PLL_MUL9;
  if (HAL_RCC_OscConfig(&RCC_OscInitStruct) != HAL_OK)
  {
    Error_Handler();
  }

  /** Initializes the CPU, AHB and APB buses clocks
  */
  RCC_ClkInitStruct.ClockType = RCC_CLOCKTYPE_HCLK|RCC_CLOCKTYPE_SYSCLK
                              |RCC_CLOCKTYPE_PCLK1|RCC_CLOCKTYPE_PCLK2;
  RCC_ClkInitStruct.SYSCLKSource = RCC_SYSCLKSOURCE_PLLCLK;
  RCC_ClkInitStruct.AHBCLKDivider = RCC_SYSCLK_DIV1;
  RCC_ClkInitStruct.APB1CLKDivider = RCC_HCLK_DIV2;
  RCC_ClkInitStruct.APB2CLKDivider = RCC_HCLK_DIV1;

  if (HAL_RCC_ClockConfig(&RCC_ClkInitStruct, FLASH_LATENCY_2) != HAL_OK)
  {
    Error_Handler();
  }
}

void Error_Handler(void)
{
  __disable_irq();
  while (1)
  {
  }
}
